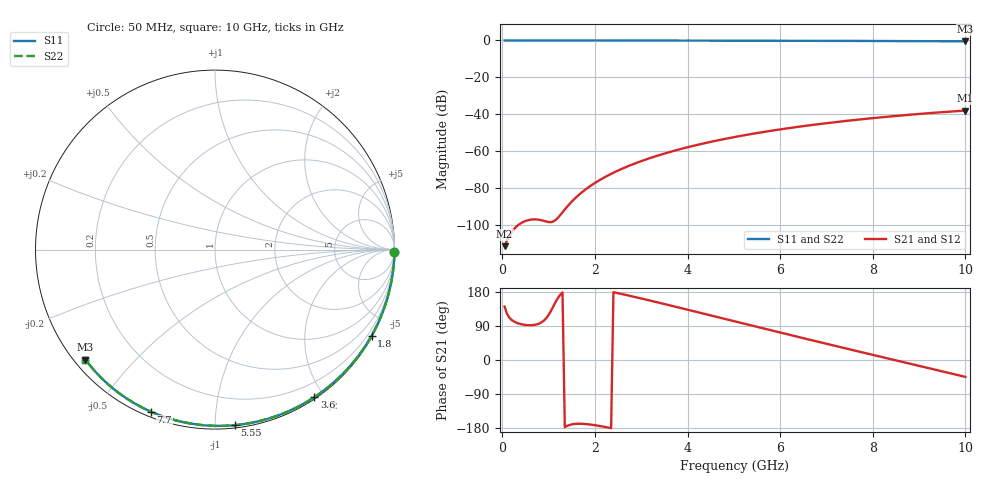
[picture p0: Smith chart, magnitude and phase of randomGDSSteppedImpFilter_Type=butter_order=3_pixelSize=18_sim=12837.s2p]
! freq	dB(S11)	phase(S11)	dB(S12)	phase(S12)
!  dB(S21)	phase(S21)	dB(S22)	phase(S22)
!S-par simulation data
#  GHz  S  DB  R 50
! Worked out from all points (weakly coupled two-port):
!   200 points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, 50 MHz to 10 GHz, reference 50 ohm
!   highest |S21| = -37.92 dB at 10 GHz (marker M1); lowest = -111.2 dB at 50 MHz (marker M2)
!   lowest |S11| = -0.5 dB at 10 GHz (marker M3), VSWR 36.54, Z = 1.55 - j18.3 ohm
!   |S11| at or under -10 dB: nowhere
!   |S22| runs from -0.5 to 0.0 dB; largest |S21 - S12| = 0
!   S11 on the Smith chart (normalised r, x): 50 MHz: open; 1.8 GHz: 0.03, -3.90; 3.6 GHz: 0.02, -1.88; 5.55 GHz: 0.02, -1.12; 7.7 GHz: 0.02, -0.68; 10 GHz: 0.03, -0.37
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0.05  -0.00 -0.8  -111.22 141.0  -111.22 141.0  -0.00 -0.8
0.45  -0.01 -7.3  -98.15 93.4  -98.15 93.4  -0.01 -7.3
0.9  -0.02 -14.5  -97.58 104.2  -97.58 104.2  -0.02 -14.5
1.75  -0.04 -28.0  -81.46 -168.6  -81.46 -168.6  -0.04 -28.0
1.8  -0.04 -28.7  -80.49 -169.0  -80.49 -169.0  -0.04 -28.7
1.85  -0.04 -29.5  -79.58 -169.6  -79.58 -169.6  -0.04 -29.5
2.05  -0.04 -32.6  -76.26 -173.0  -76.26 -173.0  -0.04 -32.6
2.25  -0.05 -35.7  -73.41 -177.4  -73.41 -177.4  -0.05 -35.7
2.55  -0.05 -40.3  -69.75 174.9  -69.75 174.9  -0.05 -40.3
2.95  -0.06 -46.4  -65.70 163.8  -65.70 163.8  -0.06 -46.4
3.4  -0.07 -53.1  -61.91 150.7  -61.91 150.7  -0.07 -53.1
3.6  -0.08 -56.1  -60.42 144.8  -60.42 144.8  -0.08 -56.1
3.9  -0.08 -60.5  -58.38 135.8  -58.38 135.8  -0.08 -60.5
4.3  -0.09 -66.2  -55.94 123.8  -55.94 123.8  -0.09 -66.2
5.05  -0.12 -76.8  -52.05 101.1  -52.05 101.1  -0.12 -76.8
5.55  -0.14 -83.6  -49.85 86.0  -49.85 86.0  -0.14 -83.6
6.1  -0.16 -91.0  -47.71 69.5  -47.71 69.5  -0.16 -91.0
6.7  -0.19 -98.8  -45.66 51.7  -45.66 51.7  -0.19 -98.8
7.7  -0.26 -111.5  -42.76 22.3  -42.76 22.3  -0.26 -111.5
8.35  -0.31 -119.6  -41.15 3.4  -41.15 3.4  -0.31 -119.6
9.2  -0.39 -130.0  -39.33 -21.3  -39.33 -21.3  -0.39 -130.0
10  -0.48 -139.7  -37.92 -44.6  -37.92 -44.6  -0.48 -139.7
